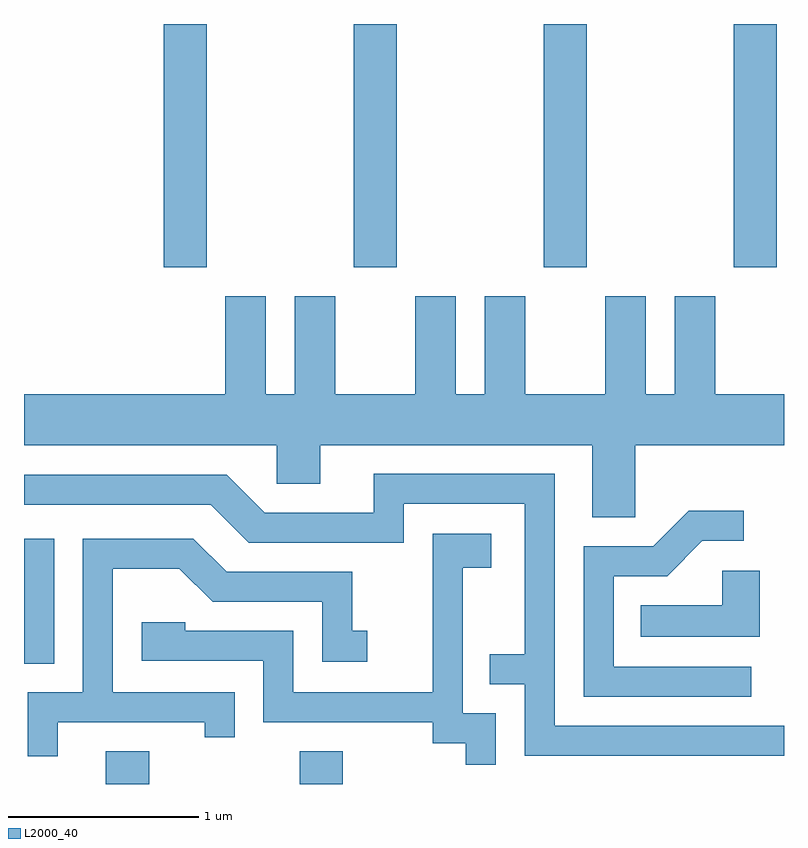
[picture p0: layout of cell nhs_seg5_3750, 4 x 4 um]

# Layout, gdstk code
import gdstk
lib = gdstk.Library(unit=1e-6, precision=1e-09)
def R(c, l, rs):  # rectangles x0, y0, x1, y1
    for r in rs: c.add(gdstk.rectangle(r[:2], r[2:], *l))
def A(c, l, x, y, w, h, nx, ny, dx, dy):  # array of equal rectangles
    R(c, l, [(x+i*dx, y+j*dy, x+i*dx+w, y+j*dy+h) for i in range(nx) for j in range(ny)])
def P(c, l, *ps):  # polygons
    for p in ps: c.add(gdstk.Polygon(p, *l))
L2000_40 = (2000, 40)

nhs_seg5_3750 = lib.new_cell('nhs_seg5_3750')
A(nhs_seg5_3750, L2000_40, 296.346, 1508.791, 0.228, 1.281, 4, 1, 1, 0)
R(nhs_seg5_3750, L2000_40, [(296.041,1506.072,296.269,1506.244), (297.061,1506.072,297.289,1506.244), (295.611,1506.706,295.769,1507.364)])
P(nhs_seg5_3750, L2000_40, [(298.829,1507.856),(299.611,1507.856),(299.611,1508.124),(299.249,1508.124),(299.249,1508.639),(299.036,1508.639),(299.036,1508.124),(298.884,1508.124),(298.884,1508.639),(298.671,1508.639),(298.671,1508.124),(298.249,1508.124),(298.249,1508.639),(298.036,1508.639),(298.036,1508.124),(297.884,1508.124),(297.884,1508.639),(297.671,1508.639),(297.671,1508.124),(297.249,1508.124),(297.249,1508.639),(297.036,1508.639),(297.036,1508.124),(296.884,1508.124),(296.884,1508.639),(296.671,1508.639),(296.671,1508.124),(295.611,1508.124),(295.611,1507.856),(296.941,1507.856),(296.941,1507.651),(297.169,1507.651),(297.169,1507.856),(298.601,1507.856),(298.601,1507.476),(298.829,1507.476)],
  [(299.611,1506.379),(298.404,1506.379),(298.404,1507.704),(297.451,1507.704),(297.451,1507.499),(296.877,1507.499),(296.677,1507.699),(295.611,1507.699),(295.611,1507.541),(296.594,1507.541),(296.794,1507.341),(297.609,1507.341),(297.609,1507.546),(298.246,1507.546),(298.246,1506.754),(298.063,1506.754),(298.063,1506.596),(298.246,1506.596),(298.246,1506.221),(299.611,1506.221)],
  [(299.438,1506.689),(298.714,1506.689),(298.714,1507.166),(298.997,1507.166),(299.182,1507.351),(299.398,1507.351),(299.398,1507.509),(299.109,1507.509),(298.924,1507.324),(298.556,1507.324),(298.556,1506.531),(299.438,1506.531)],
  [(298.094,1506.444),(297.919,1506.444),(297.919,1507.211),(298.069,1507.211),(298.069,1507.389),(297.761,1507.389),(297.761,1506.554),(297.029,1506.554),(297.029,1506.879),(296.459,1506.879),(296.459,1506.924),(296.231,1506.924),(296.231,1506.721),(296.871,1506.721),(296.871,1506.396),(297.761,1506.396),(297.761,1506.286),(297.936,1506.286),(297.936,1506.173),(298.094,1506.173)],
  [(295.789,1506.396),(296.561,1506.396),(296.561,1506.318),(296.719,1506.318),(296.719,1506.554),(296.079,1506.554),(296.079,1507.206),(296.429,1507.206),(296.604,1507.031),(297.181,1507.031),(297.181,1506.716),(297.418,1506.716),(297.418,1506.879),(297.339,1506.879),(297.339,1507.189),(296.677,1507.189),(296.502,1507.364),(295.921,1507.364),(295.921,1506.554),(295.631,1506.554),(295.631,1506.218),(295.789,1506.218)],
  [(299.484,1507.194),(299.286,1507.194),(299.286,1507.014),(298.858,1507.014),(298.858,1506.846),(299.484,1506.846)])

lib.write_gds('nhs_seg5_3750.gds')
